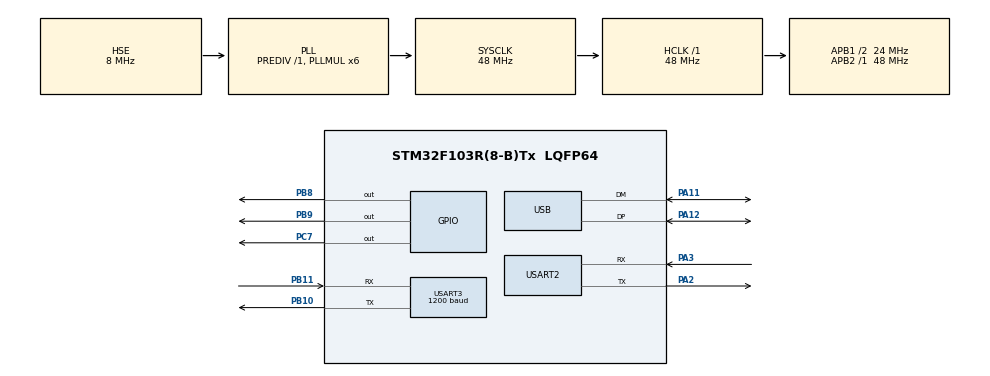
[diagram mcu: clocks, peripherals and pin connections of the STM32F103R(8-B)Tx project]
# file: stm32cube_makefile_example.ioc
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FREERTOS.Tasks01=defaultTask,0,128,StartDefaultTask,Default,NULL
Mcu.Family=STM32F1
Mcu.Name=STM32F103R(8-B)Tx
Mcu.Package=LQFP64
NVIC.PriorityGroup=NVIC_PRIORITYGROUP_4
NVIC.TIM4_IRQn=true\:0\:0\:false\:false\:true\:false
NVIC.TimeBase=TIM4_IRQn
NVIC.TimeBaseIP=TIM4
NVIC.USART2_IRQn=true\:5\:0\:false\:false\:true\:true
NVIC.USART3_IRQn=true\:5\:0\:false\:false\:true\:true
NVIC.USB_LP_CAN1_RX0_IRQn=true\:5\:0\:false\:false\:true\:true
PA11.Mode=Device
PA11.Signal=USB_DM
PA12.Mode=Device
PA12.Signal=USB_DP
PA13.Mode=Serial_Wire
PA13.Signal=SYS_JTMS-SWDIO
PA14.Mode=Serial_Wire
PA14.Signal=SYS_JTCK-SWCLK
PA2.Mode=Asynchronous
PA2.Signal=USART2_TX
PA3.Mode=Asynchronous
PA3.Signal=USART2_RX
PB10.Mode=Asynchronous
PB10.Signal=USART3_TX
PB11.Mode=Asynchronous
PB11.Signal=USART3_RX
PB8.Signal=GPIO_Output
PB9.Signal=GPIO_Output
PC7.Signal=GPIO_Output
PD0-OSC_IN.Mode=HSE-External-Oscillator
PD0-OSC_IN.Signal=RCC_OSC_IN
PD1-OSC_OUT.Mode=HSE-External-Oscillator
PD1-OSC_OUT.Signal=RCC_OSC_OUT
ProjectManager.HeapSize=0x200
ProjectManager.StackSize=0x400
ProjectManager.TargetToolchain=Other Toolchains (GPDSC)
RCC.AHBFreq_Value=48000000
RCC.APB1CLKDivider=RCC_HCLK_DIV2
RCC.APB1Freq_Value=24000000
RCC.APB1TimFreq_Value=48000000
RCC.APB2Freq_Value=48000000
RCC.APB2TimFreq_Value=48000000
RCC.HCLKFreq_Value=48000000
RCC.PLLMUL=RCC_PLL_MUL6
RCC.SYSCLKFreq_VALUE=48000000
RCC.SYSCLKSource=RCC_SYSCLKSOURCE_PLLCLK
RCC.USBFreq_Value=48000000
USART2.VirtualMode=VM_ASYNC
USART3.BaudRate=1200
USART3.Mode=MODE_RX
USART3.VirtualMode=VM_ASYNC
USB_DEVICE.CLASS_NAME_FS=CDC
USB_DEVICE.VirtualMode=Cdc
USB_DEVICE.VirtualModeFS=Cdc_FS
VP_FREERTOS_VS_ENABLE.Mode=Enabled
VP_SYS_VS_tim4.Mode=TIM4
VP_USB_DEVICE_VS_USB_DEVICE_CDC_FS.Mode=CDC_FS
board=stm32cube_makefile_example

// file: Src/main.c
/**
  ******************************************************************************
  * File Name          : main.c
  * Description        : Main program body
  ******************************************************************************
  *
  * Copyright (c) 2017 STMicroelectronics International N.V.
  * All rights reserved.
  *
  * Redistribution and use in source and binary forms, with or without
  * modification, are permitted, provided that the following conditions are met:
  *
  * 1. Redistribution of source code must retain the above copyright notice,
  *    this list of conditions and the following disclaimer.
  * 2. Redistributions in binary form must reproduce the above copyright notice,
  *    this list of conditions and the following disclaimer in the documentation
  *    and/or other materials provided with the distribution.
  * 3. Neither the name of STMicroelectronics nor the names of other
  *    contributors to this software may be used to endorse or promote products
  *    derived from this software without specific written permission.
  * 4. This software, including modifications and/or derivative works of this
  *    software, must execute solely and exclusively on microcontroller or
  *    microprocessor devices manufactured by or for STMicroelectronics.
  * 5. Redistribution and use of this software other than as permitted under
  *    this license is void and will automatically terminate your rights under
  *    this license.
  *
  * THIS SOFTWARE IS PROVIDED BY STMICROELECTRONICS AND CONTRIBUTORS "AS IS"
  * AND ANY EXPRESS, IMPLIED OR STATUTORY WARRANTIES, INCLUDING, BUT NOT
  * LIMITED TO, THE IMPLIED WARRANTIES OF MERCHANTABILITY, FITNESS FOR A
  * PARTICULAR PURPOSE AND NON-INFRINGEMENT OF THIRD PARTY INTELLECTUAL PROPERTY
  * RIGHTS ARE DISCLAIMED TO THE FULLEST EXTENT PERMITTED BY LAW. IN NO EVENT
  * SHALL STMICROELECTRONICS OR CONTRIBUTORS BE LIABLE FOR ANY DIRECT, INDIRECT,
  * INCIDENTAL, SPECIAL, EXEMPLARY, OR CONSEQUENTIAL DAMAGES (INCLUDING, BUT NOT
  * LIMITED TO, PROCUREMENT OF SUBSTITUTE GOODS OR SERVICES; LOSS OF USE, DATA,
  * OR PROFITS; OR BUSINESS INTERRUPTION) HOWEVER CAUSED AND ON ANY THEORY OF
  * LIABILITY, WHETHER IN CONTRACT, STRICT LIABILITY, OR TORT (INCLUDING
  * NEGLIGENCE OR OTHERWISE) ARISING IN ANY WAY OUT OF THE USE OF THIS SOFTWARE,
  * EVEN IF ADVISED OF THE POSSIBILITY OF SUCH DAMAGE.
  *
  ******************************************************************************
  */
#include "main.h"
#include "stm32f1xx_hal.h"
#include "cmsis_os.h"
#include "usb_device.h"

/* USER CODE BEGIN Includes */
#include "rf/rf_protocol.h"
#include "emulated_keyboard/emulated_keyboard.h"
//#include "usbd_hid.h"
/* USER CODE END Includes */

UART_HandleTypeDef huart2;
UART_HandleTypeDef huart3;

osThreadId defaultTaskHandle;

/* USER CODE BEGIN PV */
//extern USBD_HandleTypeDef hUsbDeviceFS;
/* USER CODE END PV */

void SystemClock_Config(void);
void Error_Handler(void);
static void MX_GPIO_Init(void);
static void MX_USART2_UART_Init(void);
static void MX_USART3_UART_Init(void);
void StartDefaultTask(void const * argument);

int main(void)
{

  /* MCU Configuration----------------------------------------------------------*/

  /* Reset of all peripherals, Initializes the Flash interface and the Systick. */
  HAL_Init();

  /* Configure the system clock */
  SystemClock_Config();

  /* Initialize all configured peripherals */
  MX_GPIO_Init();
  MX_USART2_UART_Init();
  MX_USART3_UART_Init();

  /* Create the thread(s) */
  /* definition and creation of defaultTask */
  osThreadDef(defaultTask, StartDefaultTask, osPriorityNormal, 0, 128);
  defaultTaskHandle = osThreadCreate(osThread(defaultTask), NULL);

  /* Start scheduler */
  osKernelStart();

  /* We should never get here as control is now taken by the scheduler */

  /* Infinite loop */

}

/** System Clock Configuration
*/
void SystemClock_Config(void)
{

  RCC_OscInitTypeDef RCC_OscInitStruct;
  RCC_ClkInitTypeDef RCC_ClkInitStruct;
  RCC_PeriphCLKInitTypeDef PeriphClkInit;

    /**Initializes the CPU, AHB and APB busses clocks
    */
  RCC_OscInitStruct.OscillatorType = RCC_OSCILLATORTYPE_HSE;
  RCC_OscInitStruct.HSEState = RCC_HSE_ON;
  RCC_OscInitStruct.HSEPredivValue = RCC_HSE_PREDIV_DIV1;
  RCC_OscInitStruct.HSIState = RCC_HSI_ON;
  RCC_OscInitStruct.PLL.PLLState = RCC_PLL_ON;
  RCC_OscInitStruct.PLL.PLLSource = RCC_PLLSOURCE_HSE;
  RCC_OscInitStruct.PLL.PLLMUL = RCC_PLL_MUL6;
  if (HAL_RCC_OscConfig(&RCC_OscInitStruct) != HAL_OK)
  {
    Error_Handler();
  }

    /**Initializes the CPU, AHB and APB busses clocks
    */
  RCC_ClkInitStruct.ClockType = RCC_CLOCKTYPE_HCLK|RCC_CLOCKTYPE_SYSCLK
                              |RCC_CLOCKTYPE_PCLK1|RCC_CLOCKTYPE_PCLK2;
  RCC_ClkInitStruct.SYSCLKSource = RCC_SYSCLKSOURCE_PLLCLK;
  RCC_ClkInitStruct.AHBCLKDivider = RCC_SYSCLK_DIV1;
  RCC_ClkInitStruct.APB1CLKDivider = RCC_HCLK_DIV2;
  RCC_ClkInitStruct.APB2CLKDivider = RCC_HCLK_DIV1;

  if (HAL_RCC_ClockConfig(&RCC_ClkInitStruct, FLASH_LATENCY_1) != HAL_OK)
  {
    Error_Handler();
  }

  PeriphClkInit.PeriphClockSelection = RCC_PERIPHCLK_USB;
  PeriphClkInit.UsbClockSelection = RCC_USBCLKSOURCE_PLL;
  if (HAL_RCCEx_PeriphCLKConfig(&PeriphClkInit) != HAL_OK)
  {
    Error_Handler();
  }

    /**Configure the Systick interrupt time
    */
  HAL_SYSTICK_Config(HAL_RCC_GetHCLKFreq()/1000);

    /**Configure the Systick
    */
  HAL_SYSTICK_CLKSourceConfig(SYSTICK_CLKSOURCE_HCLK);

  /* SysTick_IRQn interrupt configuration */
  HAL_NVIC_SetPriority(SysTick_IRQn, 15, 0);
}

/* USART2 init function */
static void MX_USART2_UART_Init(void)
{

  huart2.Instance = USART2;
  huart2.Init.BaudRate = 115200;
  huart2.Init.WordLength = UART_WORDLENGTH_8B;
  huart2.Init.StopBits = UART_STOPBITS_1;
  huart2.Init.Parity = UART_PARITY_NONE;
  huart2.Init.Mode = UART_MODE_TX_RX;
  huart2.Init.HwFlowCtl = UART_HWCONTROL_NONE;
  huart2.Init.OverSampling = UART_OVERSAMPLING_16;
  if (HAL_UART_Init(&huart2) != HAL_OK)
  {
    Error_Handler();
  }

}

/* USART3 init function */
static void MX_USART3_UART_Init(void)
{

  huart3.Instance = USART3;
  huart3.Init.BaudRate = 1200;
  huart3.Init.WordLength = UART_WORDLENGTH_8B;
  huart3.Init.StopBits = UART_STOPBITS_1;
  huart3.Init.Parity = UART_PARITY_NONE;
  huart3.Init.Mode = UART_MODE_RX;
  huart3.Init.HwFlowCtl = UART_HWCONTROL_NONE;
  huart3.Init.OverSampling = UART_OVERSAMPLING_16;
  if (HAL_UART_Init(&huart3) != HAL_OK)
  {
    Error_Handler();
  }

}

/** Configure pins as
        * Analog
        * Input
        * Output
        * EVENT_OUT
        * EXTI
*/
static void MX_GPIO_Init(void)
{

  GPIO_InitTypeDef GPIO_InitStruct;

  /* GPIO Ports Clock Enable */
  __HAL_RCC_GPIOD_CLK_ENABLE();
  __HAL_RCC_GPIOA_CLK_ENABLE();
  __HAL_RCC_GPIOB_CLK_ENABLE();
  __HAL_RCC_GPIOC_CLK_ENABLE();

  /*Configure GPIO pin Output Level */
  HAL_GPIO_WritePin(GPIOC, GPIO_PIN_7, GPIO_PIN_RESET);

  /*Configure GPIO pin Output Level */
  HAL_GPIO_WritePin(GPIOB, GPIO_PIN_8|GPIO_PIN_9, GPIO_PIN_RESET);

  /*Configure GPIO pin : PC7 */
  GPIO_InitStruct.Pin = GPIO_PIN_7;
  GPIO_InitStruct.Mode = GPIO_MODE_OUTPUT_PP;
  GPIO_InitStruct.Speed = GPIO_SPEED_FREQ_LOW;
  HAL_GPIO_Init(GPIOC, &GPIO_InitStruct);

  /*Configure GPIO pins : PB8 PB9 */
  GPIO_InitStruct.Pin = GPIO_PIN_8|GPIO_PIN_9;
  GPIO_InitStruct.Mode = GPIO_MODE_OUTPUT_PP;
  GPIO_InitStruct.Speed = GPIO_SPEED_FREQ_LOW;
  HAL_GPIO_Init(GPIOB, &GPIO_InitStruct);

}

/* USER CODE BEGIN 4 */
void HAL_UART_RxCpltCallback(UART_HandleTypeDef *UartHandle)
{
  if (UartHandle == &huart3) {
    static volatile uint8_t buffer = 0;
    if (on_rf_phy_byte_received(buffer)) {
      HAL_UART_Transmit(&huart2, "hell\n", 5, 300u);
    }
    if (HAL_UART_Receive_IT(&huart3, &buffer, sizeof buffer) != HAL_OK) {
      Error_Handler();
    }
  }
}
/* USER CODE END 4 */

/* StartDefaultTask function */
void StartDefaultTask(void const * argument)
{
  /* init code for USB_DEVICE */
  MX_USB_DEVICE_Init();

  /* USER CODE BEGIN 5 */

  emulated_keyboard_init();

  uint8_t dummy = 0;
  if (HAL_UART_Receive_IT(&huart3, &dummy, sizeof dummy) != HAL_OK) {
    Error_Handler();
  }
  rf_init();

  while(1)
  {
    osDelay(5000);

    emulated_keyboard_write_char(ARROW_RIGHT); // h
    emulated_keyboard_write_char(ARROW_LEFT);

    //USBD_HID_SendReport(&hUsbDeviceFS, "A", 1);

    HAL_GPIO_TogglePin(GPIOB, GPIO_PIN_8);
//    HAL_GPIO_TogglePin(GPIOB, GPIO_PIN_9);
  }
  /* USER CODE END 5 */
}

void HAL_TIM_PeriodElapsedCallback(TIM_HandleTypeDef *htim)
{
  if (htim->Instance == TIM4) {
    HAL_IncTick();
  }
}

void Error_Handler(void)
{
}

/************************ (C) COPYRIGHT STMicroelectronics *****END OF FILE****/
